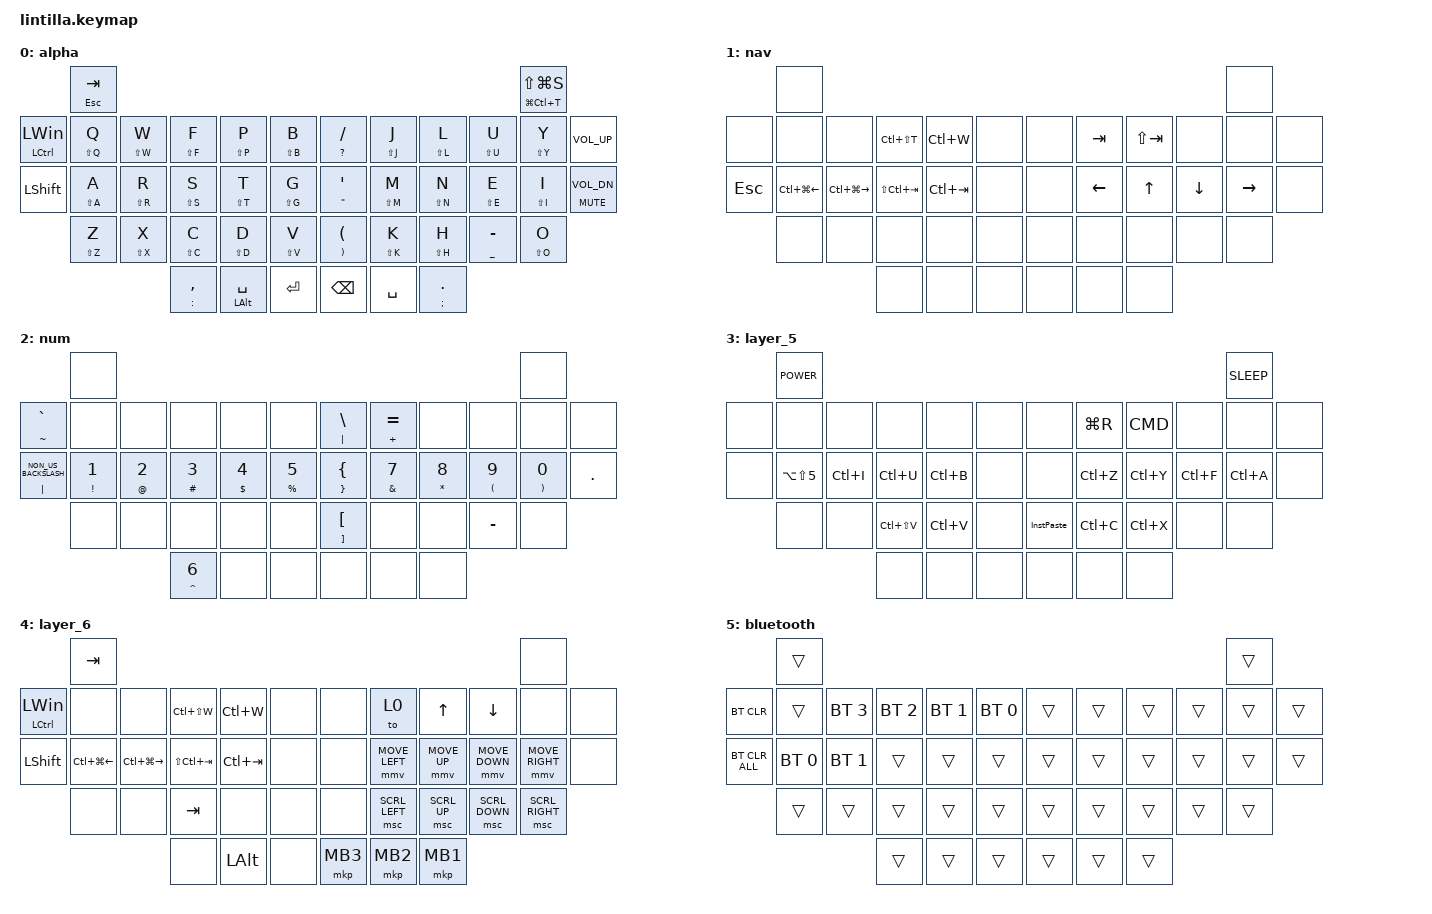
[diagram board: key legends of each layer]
#include <behaviors/rgbled_widget.dtsi>
#include <behaviors.dtsi>
#include <dt-bindings/zmk/bt.h>
#include <dt-bindings/zmk/keys.h>
#include <dt-bindings/zmk/pointing.h>

// Multiple mods

&mt {
    quick-tap-ms = <100>;
    global-quick-tap;
    flavor = "tap-preferred";
    tapping-term-ms = <170>;
};

&sk { quick-release; };

/ {
    combos {
        compatible = "zmk,combos";

        NumLayer {
            bindings = <&mo 2>;
            key-positions = <40 41>;
        };

        NavLayer {
            bindings = <&mo 1>;
            key-positions = <37 36>;
        };

        EditLayer {
            bindings = <&sl 3>;
            key-positions = <9 10>;
        };

        MouseLayer {
            bindings = <&to 4>;
            key-positions = <32 33>;
        };

        yuyou {
            bindings = <&you>;
            key-positions = <12 11>;
        };

        bt0 {
            bindings = <&bt BT_SEL 0>;
            key-positions = <3 4>;
        };

        bt1 {
            bindings = <&bt BT_SEL 1>;
            key-positions = <15 16>;
        };

        bt2 {
            bindings = <&bt BT_SEL 2>;
            key-positions = <26 27>;
        };

        btclr {
            bindings = <&bt BT_CLR>;
            key-positions = <14 3>;
        };
    };

    macros {
        InstPaste: InstPaste {
            compatible = "zmk,behavior-macro";
            #binding-cells = <0>;
            bindings = <&kp LC(C) &kp LC(V)>;
            label = "INSTPASTE";
        };

        CMD: CMD {
            compatible = "zmk,behavior-macro";
            #binding-cells = <0>;
            bindings = <&kp LG(R) &kp C &kp M &kp D &kp ENTER>;
            label = "CMD";
        };

        you: you {
            compatible = "zmk,behavior-macro";
            #binding-cells = <0>;
            bindings = <&kp Y &kp O &kp U>;
            label = "YOU";
        };
    };

    keymap {
        compatible = "zmk,keymap";

        alpha {
            bindings = <
                    &mt ESC TAB                                                                                                                                                                  &mt LG(LC(T)) LS(LG(S))
&mt LCTRL LEFT_WIN  &mt LS(Q) Q  &mt LS(W) W  &mt LS(F) F      &mt LS(P) P         &mt LS(B) B  &mt QUESTION SLASH                      &mt LS(J) J  &mt LS(L) L           &mt LS(U) U           &mt LS(Y) Y              &kp C_VOLUME_UP
&kp LEFT_SHIFT      &mt LS(A) A  &mt LS(R) R  &mt LS(S) S      &mt LS(T) T         &mt LS(G) G  &mt DOUBLE_QUOTES SQT                   &mt LS(M) M  &mt LS(N) N           &mt LS(E) E           &mt LS(I) I              &mt K_MUTE C_VOL_DN
                    &mt LS(Z) Z  &mt LS(X) X  &mt LS(C) C      &mt LS(D) D         &mt LS(V) V  &mt RIGHT_PARENTHESIS LEFT_PARENTHESIS  &mt LS(K) K  &mt LS(H) H           &mt UNDERSCORE MINUS  &mt LS(O) O
                                              &mt COLON COMMA  &mt LEFT_ALT SPACE  &kp RET      &kp BSPC                                &kp SPACE    &mt SEMICOLON PERIOD
            >;
        };

        nav {
            bindings = <
         &none                                                                                                             &none
&none    &none             &none              &kp LC(LS(T))    &kp LC(W)    &none  &none  &kp TAB   &kp LS(TAB)  &none     &none      &none
&kp ESC  &kp LC(LG(LEFT))  &kp LC(LG(RIGHT))  &kp LS(LC(TAB))  &kp LC(TAB)  &none  &none  &kp LEFT  &kp UP       &kp DOWN  &kp RIGHT  &none
         &none             &none              &none            &none        &none  &none  &none     &none        &none     &none
                                              &none            &none        &none  &none  &none     &none
            >;
        };

        num {
            bindings = <
                           &none                                                                                                                                                                                                &none
&mt TILDE GRAVE            &none                     &none                 &none               &none                &none           &mt PIPE BACKSLASH              &mt PLUS EQUAL    &none            &none                    &none                     &none
&mt PIPE NON_US_BACKSLASH  &mt EXCLAMATION NUMBER_1  &mt AT_SIGN NUMBER_2  &mt HASH NUMBER_3   &mt DOLLAR NUMBER_4  &mt PERCENT N5  &mt RIGHT_BRACE LEFT_BRACE      &mt AMPERSAND N7  &mt ASTERISK N8  &mt LEFT_PARENTHESIS N9  &mt RIGHT_PARENTHESIS N0  &kp PERIOD
                           &none                     &none                 &none               &none                &none           &mt RIGHT_BRACKET LEFT_BRACKET  &none             &none            &kp MINUS                &none
                                                                           &mt CARET NUMBER_6  &none                &none           &none                           &none             &none
            >;
        };

        layer_5 {
            bindings = <
       &kp C_POWER                                                                                              &kp C_SLEEP
&none  &none           &none      &none          &none      &none  &none       &kp LG(R)  &CMD       &none      &none        &none
&none  &kp LA(LS(N5))  &kp LC(I)  &kp LC(U)      &kp LC(B)  &none  &none       &kp LC(Z)  &kp LC(Y)  &kp LC(F)  &kp LC(A)    &none
       &none           &none      &kp LC(LS(V))  &kp LC(V)  &none  &InstPaste  &kp LC(C)  &kp LC(X)  &none      &none
                                  &none          &none      &none  &none       &none      &none
            >;
        };

        layer_6 {
            bindings = <
                    &kp TAB                                                                                                                            &none
&mt LCTRL LEFT_WIN  &none             &none              &kp LC(LS(W))    &kp LC(W)     &none  &none     &to 0           &kp UP        &kp DOWN        &none            &none
&kp LEFT_SHIFT      &kp LC(LG(LEFT))  &kp LC(LG(RIGHT))  &kp LS(LC(TAB))  &kp LC(TAB)   &none  &none     &mmv MOVE_LEFT  &mmv MOVE_UP  &mmv MOVE_DOWN  &mmv MOVE_RIGHT  &none
                    &none             &none              &kp TAB          &none         &none  &none     &msc SCRL_LEFT  &msc SCRL_UP  &msc SCRL_DOWN  &msc SCRL_RIGHT
                                                         &none            &kp LEFT_ALT  &none  &mkp MB3  &mkp MB2        &mkp MB1
            >;
        };

        bluetooth {
            bindings = <
                &trans                                                                                                &trans
&bt BT_CLR      &trans        &bt BT_SEL 3  &bt BT_SEL 2  &bt BT_SEL 1  &bt BT_SEL 0  &trans  &trans  &trans  &trans  &trans  &trans
&bt BT_CLR_ALL  &bt BT_SEL 0  &bt BT_SEL 1  &trans        &trans        &trans        &trans  &trans  &trans  &trans  &trans  &trans
                &trans        &trans        &trans        &trans        &trans        &trans  &trans  &trans  &trans  &trans
                                            &trans        &trans        &trans        &trans  &trans  &trans
            >;
        };
    };
};

// vim: expandtab softtabstop=4 shiftwidth=4 filetype=dts
